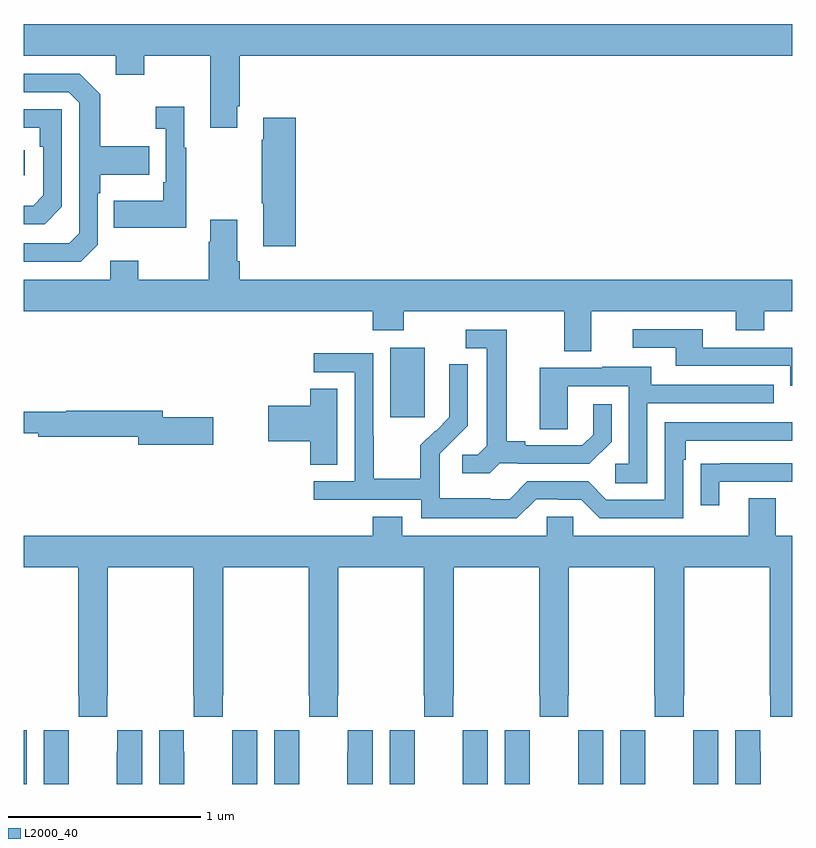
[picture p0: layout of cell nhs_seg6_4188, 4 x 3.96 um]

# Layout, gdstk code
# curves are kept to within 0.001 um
import gdstk
lib = gdstk.Library(unit=1e-6, precision=1e-09)
def R(c, l, rs):  # rectangles x0, y0, x1, y1
    for r in rs: c.add(gdstk.rectangle(r[:2], r[2:], *l))
def P(c, l, *ps):  # polygons
    for p in ps: c.add(gdstk.Polygon(p, *l))
L2000_40 = (2000, 40)

nhs_seg6_4188 = lib.new_cell('nhs_seg6_4188')
R(nhs_seg6_4188, L2000_40, [(357,987.5,357.016,987.781), (358.907,989.409,359.086,989.77), (357,990.668,357.004,990.798)])
P(nhs_seg6_4188, L2000_40, [(358.111,991.027),(358.124,991.027),(358.124,991.292),(361,991.292),(361,991.456),(357,991.456),(357,991.292),(357.479,991.292),(357.479,991.193),(357.627,991.193),(357.627,991.292),(357.971,991.292),(357.971,990.915),(358.111,990.915)],
  [(357.384,990.306),(357.384,990.575),(357.397,990.575),(357.397,990.671),(357.653,990.671),(357.653,990.819),(357.397,990.819),(357.397,991.091),(357.291,991.197),(357,991.197),(357,991.101),(357.234,991.101),(357.288,991.047),(357.288,990.366),(357.237,990.315),(357,990.315),(357,990.219),(357.297,990.219)],
  [(357.847,990.811),(357.835,990.811),(357.835,991.024),(357.687,991.024),(357.687,990.911),(357.738,990.911),(357.738,990.631),(357.726,990.631),(357.726,990.535),(357.469,990.535),(357.469,990.395),(357.847,990.395)],
  [(357.198,990.504),(357.198,991.011),(357,991.011),(357,990.915),(357.082,990.915),(357.082,990.818),(357.102,990.818),(357.102,990.564),(357.049,990.511),(357,990.511),(357,990.414),(357.108,990.414)],
  [(358.415,990.967),(358.247,990.967),(358.247,990.854),(358.24,990.854),(358.24,990.523),(358.247,990.523),(358.247,990.3),(358.415,990.3)],
  [(359.953,989.96),(360.707,989.96),(360.707,989.861),(360.855,989.861),(360.855,989.96),(361,989.96),(361,990.124),(358.124,990.124),(358.124,990.22),(358.111,990.22),(358.111,990.436),(357.971,990.436),(357.971,990.323),(357.964,990.323),(357.964,990.124),(357.597,990.124),(357.597,990.223),(357.45,990.223),(357.45,990.124),(357,990.124),(357,989.96),(358.817,989.96),(358.817,989.861),(358.977,989.861),(358.977,989.96),(359.813,989.96),(359.813,989.752),(359.953,989.752)],
  [(361,989.772),(360.535,989.772),(360.535,989.868),(360.171,989.868),(360.171,989.772),(360.395,989.772),(360.395,989.676),(360.99,989.676),(360.99,989.573),(361,989.573)],
  [(359.478,989.169),(359.572,989.169),(359.572,989.166),(359.944,989.166),(360.06,989.282),(360.06,989.476),(359.963,989.476),(359.963,989.319),(359.906,989.262),(359.611,989.262),(359.611,989.285),(359.515,989.285),(359.515,989.865),(359.301,989.865),(359.301,989.769),(359.411,989.769),(359.411,989.261),(359.364,989.214),(359.283,989.214),(359.283,989.117),(359.426,989.117)],
  [(359.667,988.983),(359.783,988.983),(359.783,988.98),(359.901,988.98),(359.997,988.884),(360.432,988.884),(360.432,989.189),(360.445,989.189),(360.445,989.286),(361,989.286),(361,989.382),(360.336,989.382),(360.336,988.98),(360.033,988.98),(359.937,989.076),(359.622,989.076),(359.529,988.983),(359.429,988.983),(359.429,988.987),(359.166,988.987),(359.166,989.121),(359.164,989.121),(359.164,989.218),(359.31,989.366),(359.31,989.684),(359.214,989.684),(359.214,989.53),(359.216,989.53),(359.216,989.408),(359.145,989.337),(359.142,989.34),(359.065,989.263),(359.065,989.089),(358.821,989.089),(358.821,989.312),(358.818,989.312),(358.818,989.742),(358.509,989.742),(358.509,989.643),(358.722,989.643),(358.722,989.076),(358.509,989.076),(358.509,988.98),(359.07,988.98),(359.07,988.883),(359.567,988.883)],
  [(360.246,989.481),(360.905,989.481),(360.905,989.577),(360.265,989.577),(360.265,989.671),(360.011,989.671),(360.011,989.667),(359.687,989.667),(359.687,989.347),(359.832,989.347),(359.832,989.571),(360.15,989.571),(360.15,989.166),(360.078,989.166),(360.078,989.065),(360.246,989.065)],
  [(358.633,989.558),(358.49,989.558),(358.49,989.468),(358.272,989.468),(358.272,989.285),(358.49,989.285),(358.49,989.161),(358.633,989.161)],
  [(357.985,989.408),(357.724,989.408),(357.724,989.444),(357.22,989.444),(357.22,989.437),(357,989.437),(357,989.327),(357.076,989.327),(357.076,989.308),(357.596,989.308),(357.596,989.266),(357.985,989.266)],
  [(360.619,989.073),(361,989.073),(361,989.169),(360.625,989.169),(360.625,989.168),(360.523,989.168),(360.523,988.95),(360.619,988.95)],
  [(357,988.628),(357.283,988.628),(357.283,987.961),(357.285,987.961),(357.285,987.849),(357.435,987.849),(357.435,987.961),(357.438,987.961),(357.438,988.628),(357.883,988.628),(357.883,987.961),(357.885,987.961),(357.885,987.849),(358.035,987.849),(358.035,987.961),(358.038,987.961),(358.038,988.628),(358.483,988.628),(358.483,987.961),(358.485,987.961),(358.485,987.849),(358.635,987.849),(358.635,987.961),(358.638,987.961),(358.638,988.628),(359.083,988.628),(359.083,987.961),(359.085,987.961),(359.085,987.849),(359.235,987.849),(359.235,987.961),(359.238,987.961),(359.238,988.628),(359.683,988.628),(359.683,987.961),(359.685,987.961),(359.685,987.849),(359.835,987.849),(359.835,987.961),(359.838,987.961),(359.838,988.628),(360.283,988.628),(360.283,987.961),(360.285,987.961),(360.285,987.849),(360.435,987.849),(360.435,987.961),(360.438,987.961),(360.438,988.628),(360.883,988.628),(360.883,987.961),(360.885,987.961),(360.885,987.849),(361,987.849),(361,988.792),(360.913,988.792),(360.913,988.987),(360.773,988.987),(360.773,988.792),(359.859,988.792),(359.859,988.89),(359.721,988.89),(359.721,988.792),(358.969,988.792),(358.969,988.891),(358.817,988.891),(358.817,988.792),(357,988.792)],
  [(360.616,987.781),(360.486,987.781),(360.486,987.668),(360.485,987.668),(360.485,987.5),(360.616,987.5)],
  [(360.835,987.668),(360.834,987.668),(360.834,987.781),(360.704,987.781),(360.704,987.5),(360.835,987.5)],
  [(359.635,987.668),(359.634,987.668),(359.634,987.781),(359.504,987.781),(359.504,987.5),(359.635,987.5)],
  [(360.235,987.668),(360.234,987.668),(360.234,987.781),(360.104,987.781),(360.104,987.5),(360.235,987.5)],
  [(360.016,987.781),(359.886,987.781),(359.886,987.668),(359.885,987.668),(359.885,987.5),(360.016,987.5)],
  [(357.235,987.668),(357.234,987.668),(357.234,987.781),(357.104,987.781),(357.104,987.5),(357.235,987.5)],
  [(357.616,987.781),(357.486,987.781),(357.486,987.668),(357.485,987.668),(357.485,987.5),(357.616,987.5)],
  [(357.835,987.668),(357.834,987.668),(357.834,987.781),(357.704,987.781),(357.704,987.5),(357.835,987.5)],
  [(358.216,987.781),(358.086,987.781),(358.086,987.668),(358.085,987.668),(358.085,987.5),(358.216,987.5)],
  [(358.435,987.668),(358.434,987.668),(358.434,987.781),(358.304,987.781),(358.304,987.5),(358.435,987.5)],
  [(358.816,987.781),(358.686,987.781),(358.686,987.668),(358.685,987.668),(358.685,987.5),(358.816,987.5)],
  [(359.035,987.668),(359.034,987.668),(359.034,987.781),(358.904,987.781),(358.904,987.5),(359.035,987.5)],
  [(359.416,987.781),(359.286,987.781),(359.286,987.668),(359.285,987.668),(359.285,987.5),(359.416,987.5)])

lib.write_gds('nhs_seg6_4188.gds')
